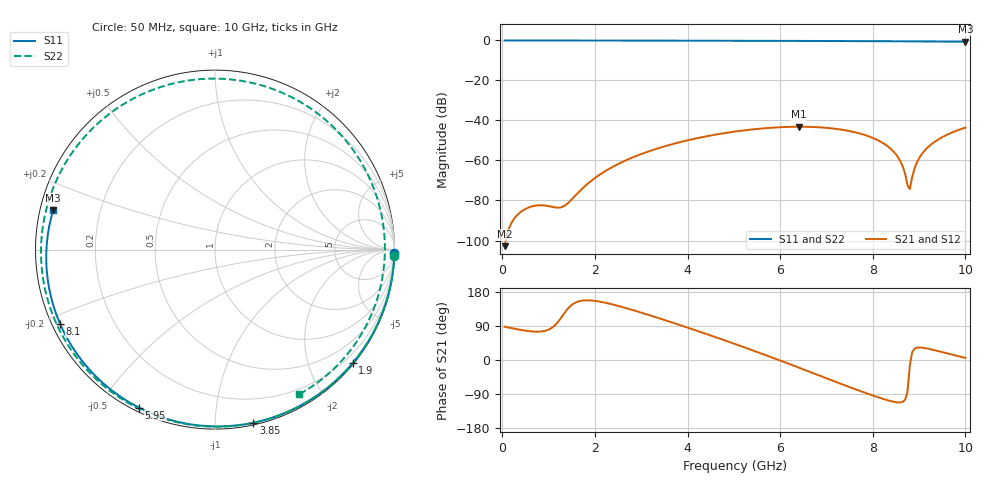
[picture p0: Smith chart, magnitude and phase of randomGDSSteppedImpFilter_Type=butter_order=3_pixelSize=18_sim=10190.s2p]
! freq	dB(S11)	phase(S11)	dB(S12)	phase(S12)
!  dB(S21)	phase(S21)	dB(S22)	phase(S22)
!S-par simulation data
#  GHz  S  DB  R 50
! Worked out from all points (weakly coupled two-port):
!   200 points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, 50 MHz to 10 GHz, reference 50 ohm
!   highest |S21| = -43.13 dB at 6.4 GHz (marker M1); lowest = -102.8 dB at 50 MHz (marker M2)
!   lowest |S11| = -0.7 dB at 10 GHz (marker M3), VSWR 26.68, Z = 1.9 + j6.04 ohm
!   |S11| at or under -10 dB: nowhere
!   |S22| runs from -0.6 to 0.0 dB; largest |S21 - S12| = 0
!   S11 on the Smith chart (normalised r, x): 50 MHz: open; 1.9 GHz: 0.03, -2.79; 3.85 GHz: 0.02, -1.24; 5.95 GHz: 0.02, -0.63; 8.1 GHz: 0.02, -0.23; 10 GHz: 0.04, +0.12
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0.05  -0.00 -1.1  -102.83 87.9  -102.83 87.9  -0.01 -1.9
0.7  -0.02 -14.8  -82.65 74.8  -82.65 74.8  -0.03 -25.9
1.45  -0.04 -30.3  -80.60 140.0  -80.60 140.0  -0.07 -53.2
1.75  -0.05 -36.4  -73.54 157.0  -73.54 157.0  -0.08 -64.0
1.9  -0.05 -39.5  -70.55 157.2  -70.55 157.2  -0.09 -69.3
2.65  -0.07 -54.5  -60.13 137.8  -60.13 137.8  -0.12 -96.1
3.4  -0.09 -69.0  -53.64 109.7  -53.64 109.7  -0.16 -123.0
3.85  -0.11 -77.5  -50.76 91.7  -50.76 91.7  -0.19 -139.5
5.05  -0.15 -99.6  -45.45 41.2  -45.45 41.2  -0.28 173.3
5.95  -0.20 -115.6  -43.43 0.9  -43.43 0.9  -0.36 132.7
6.4  -0.23 -123.6  -43.13 -20.0  -43.13 -20.0  -0.40 110.4
6.7  -0.25 -128.9  -43.25 -34.1  -43.25 -34.1  -0.41 94.9
7.35  -0.31 -140.5  -44.68 -64.6  -44.68 -64.6  -0.44 60.4
8.1  -0.38 -154.3  -49.76 -97.8  -49.76 -97.8  -0.46 21.3
8.35  -0.41 -159.0  -53.41 -107.2  -53.41 -107.2  -0.47 9.0
8.6  -0.44 -163.8  -60.52 -111.9  -60.52 -111.9  -0.48 -2.9
8.8  -0.46 -167.7  -74.30 -15.1  -74.30 -15.1  -0.49 -12.1
8.85  -0.47 -168.7  -68.38 20.4  -68.38 20.4  -0.49 -14.3
8.95  -0.48 -170.8  -61.14 32.4  -61.14 32.4  -0.50 -18.7
9.15  -0.51 -174.9  -54.31 30.9  -54.31 30.9  -0.51 -27.2
9.5  -0.56 177.7  -48.36 20.9  -48.36 20.9  -0.55 -41.3
10  -0.65 166.2  -43.54 5.5  -43.54 5.5  -0.61 -59.8
